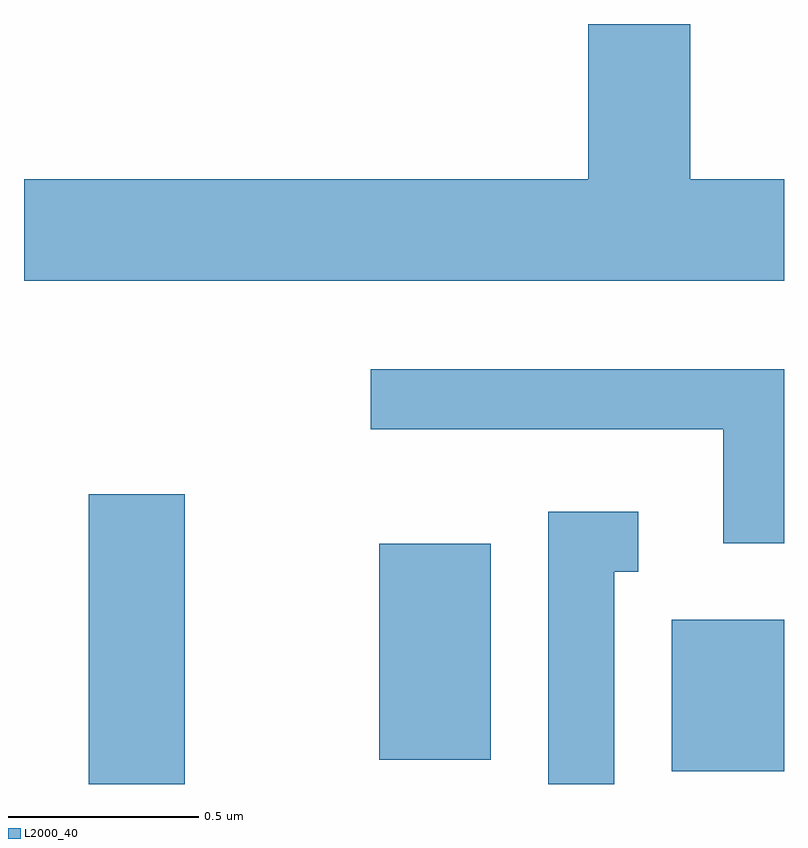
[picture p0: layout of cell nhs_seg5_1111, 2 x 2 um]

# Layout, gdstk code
import gdstk
lib = gdstk.Library(unit=1e-6, precision=1e-09)
def R(c, l, rs):  # rectangles x0, y0, x1, y1
    for r in rs: c.add(gdstk.rectangle(r[:2], r[2:], *l))
def P(c, l, *ps):  # polygons
    for p in ps: c.add(gdstk.Polygon(p, *l))
L2000_40 = (2000, 40)

nhs_seg5_1111 = lib.new_cell('nhs_seg5_1111')
R(nhs_seg5_1111, L2000_40, [(193.781,1411.072,194.034,1411.834), (195.316,1411.106,195.611,1411.504), (194.546,1411.136,194.839,1411.704)])
P(nhs_seg5_1111, L2000_40, [(195.611,1412.664),(195.364,1412.664),(195.364,1413.072),(195.096,1413.072),(195.096,1412.664),(193.611,1412.664),(193.611,1412.396),(195.611,1412.396)],
  [(195.611,1412.164),(194.523,1412.164),(194.523,1412.006),(195.451,1412.006),(195.451,1411.706),(195.611,1411.706)],
  [(195.164,1411.631),(195.228,1411.631),(195.228,1411.789),(194.991,1411.789),(194.991,1411.072),(195.164,1411.072)])

lib.write_gds('nhs_seg5_1111.gds')
